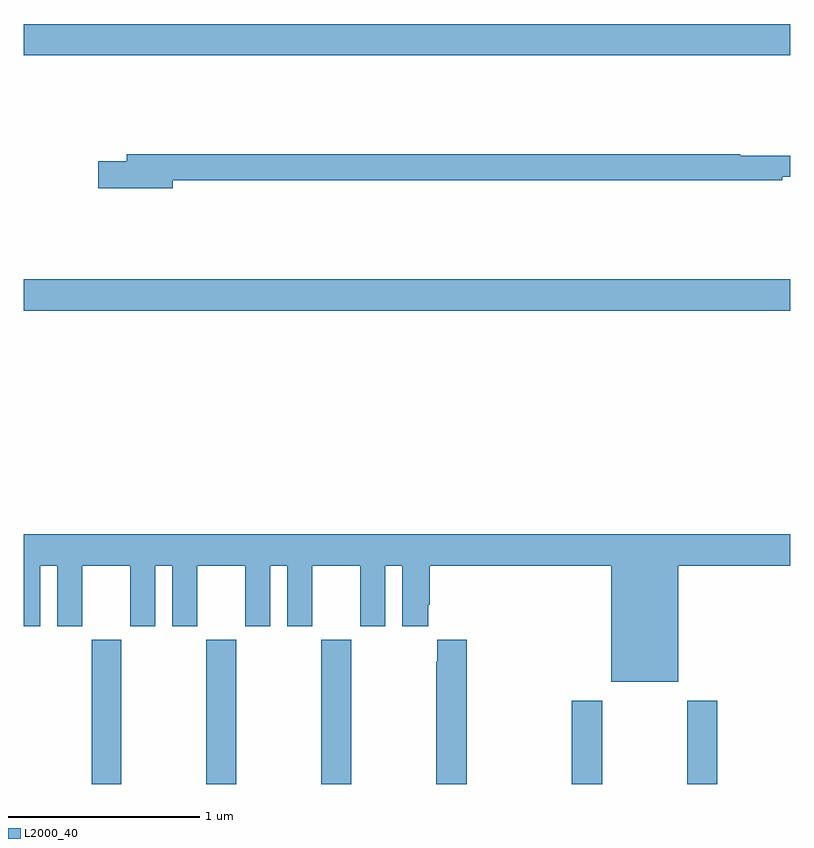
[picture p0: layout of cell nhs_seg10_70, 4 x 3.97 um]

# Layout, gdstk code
import gdstk
lib = gdstk.Library(unit=1e-6, precision=1e-09)
def R(c, l, rs):  # rectangles x0, y0, x1, y1
    for r in rs: c.add(gdstk.rectangle(r[:2], r[2:], *l))
def A(c, l, x, y, w, h, nx, ny, dx, dy):  # array of equal rectangles
    R(c, l, [(x+i*dx, y+j*dy, x+i*dx+w, y+j*dy+h) for i in range(nx) for j in range(ny)])
def P(c, l, *ps):  # polygons
    for p in ps: c.add(gdstk.Polygon(p, *l))
L2000_40 = (2000, 40)

nhs_seg10_70 = lib.new_cell('nhs_seg10_70')
A(nhs_seg10_70, L2000_40, 113.353, 1308.5, 0.155, 0.752, 3, 1, 0.6, 0)
R(nhs_seg10_70, L2000_40, [(115.859,1308.5,116.019,1308.934), (116.464,1308.5,116.619,1308.934), (113,1310.972,117,1311.136), (113,1312.304,117,1312.468)])
P(nhs_seg10_70, L2000_40, [(113.776,1311.652),(116.96,1311.652),(116.96,1311.671),(117,1311.671),(117,1311.781),(116.741,1311.781),(116.741,1311.788),(113.537,1311.788),(113.537,1311.752),(113.388,1311.752),(113.388,1311.61),(113.776,1311.61)],
  [(116.416,1309.64),(117,1309.64),(117,1309.804),(113,1309.804),(113,1309.323),(113.086,1309.323),(113.086,1309.64),(113.174,1309.64),(113.174,1309.323),(113.305,1309.323),(113.305,1309.64),(113.555,1309.64),(113.555,1309.323),(113.686,1309.323),(113.686,1309.64),(113.774,1309.64),(113.774,1309.323),(113.905,1309.323),(113.905,1309.64),(114.155,1309.64),(114.155,1309.323),(114.286,1309.323),(114.286,1309.64),(114.374,1309.64),(114.374,1309.323),(114.505,1309.323),(114.505,1309.64),(114.755,1309.64),(114.755,1309.323),(114.886,1309.323),(114.886,1309.64),(114.974,1309.64),(114.974,1309.323),(115.111,1309.323),(115.111,1309.435),(115.118,1309.435),(115.118,1309.64),(116.066,1309.64),(116.066,1309.034),(116.416,1309.034)],
  [(115.313,1309.252),(115.157,1309.252),(115.157,1309.139),(115.153,1309.139),(115.153,1308.5),(115.313,1308.5)])

lib.write_gds('nhs_seg10_70.gds')
